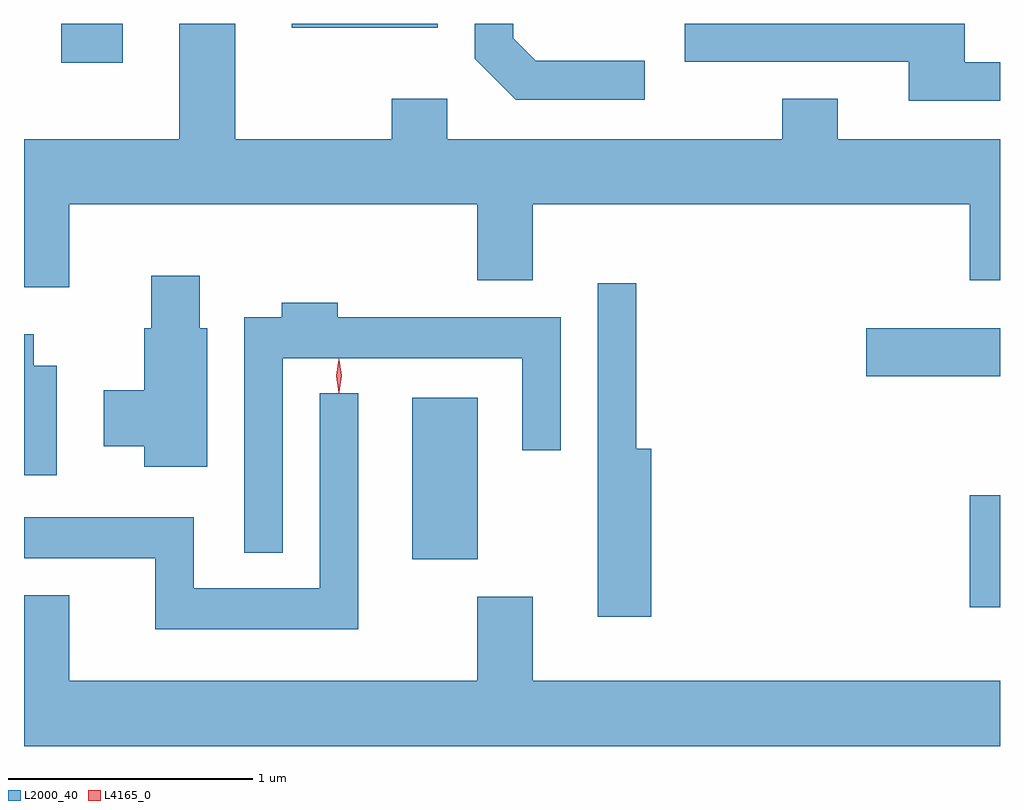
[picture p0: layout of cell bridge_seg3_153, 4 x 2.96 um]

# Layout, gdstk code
import gdstk
lib = gdstk.Library(unit=1e-6, precision=1e-09)
def R(c, l, rs):  # rectangles x0, y0, x1, y1
    for r in rs: c.add(gdstk.rectangle(r[:2], r[2:], *l))
def P(c, l, *ps):  # polygons
    for p in ps: c.add(gdstk.Polygon(p, *l))
L2000_40 = (2000, 40)
L4165_0 = (4165, 0)

bridge_seg3_153 = lib.new_cell('bridge_seg3_153')
R(bridge_seg3_153, L2000_40, [(910.921,1195.406,911.044,1195.864), (908.636,1195.601,908.904,1196.264), (910.496,1196.351,911.044,1196.549), (907.196,1197.636,907.449,1197.796), (908.141,1197.781,908.739,1197.796)])
P(bridge_seg3_153, L2000_40, [(909.588,1197.644),(909.142,1197.644),(909.049,1197.737),(909.049,1197.796),(908.891,1197.796),(908.891,1197.654),(909.059,1197.486),(909.588,1197.486)],
  [(907.229,1197.056),(908.901,1197.056),(908.901,1196.746),(909.129,1196.746),(909.129,1197.056),(910.921,1197.056),(910.921,1196.746),(911.044,1196.746),(911.044,1197.324),(910.379,1197.324),(910.379,1197.489),(910.151,1197.489),(910.151,1197.324),(908.779,1197.324),(908.779,1197.489),(908.551,1197.489),(908.551,1197.324),(907.909,1197.324),(907.909,1197.796),(907.681,1197.796),(907.681,1197.324),(907.044,1197.324),(907.044,1196.716),(907.229,1196.716)],
  [(911.044,1197.639),(910.899,1197.639),(910.899,1197.796),(909.751,1197.796),(909.751,1197.641),(910.671,1197.641),(910.671,1197.481),(911.044,1197.481)],
  [(907.794,1196.549),(907.764,1196.549),(907.764,1196.764),(907.566,1196.764),(907.566,1196.549),(907.536,1196.549),(907.536,1196.294),(907.371,1196.294),(907.371,1196.066),(907.536,1196.066),(907.536,1195.981),(907.794,1195.981)],
  [(909.614,1196.054),(909.554,1196.054),(909.554,1196.733),(909.396,1196.733),(909.396,1195.366),(909.614,1195.366)],
  [(908.104,1196.426),(909.086,1196.426),(909.086,1196.048),(909.244,1196.048),(909.244,1196.594),(908.329,1196.594),(908.329,1196.654),(908.101,1196.654),(908.101,1196.594),(907.946,1196.594),(907.946,1195.628),(908.104,1195.628)],
  [(907.179,1196.394),(907.084,1196.394),(907.084,1196.524),(907.044,1196.524),(907.044,1195.946),(907.179,1195.946)],
  [(908.414,1196.283),(908.256,1196.283),(908.256,1195.484),(907.739,1195.484),(907.739,1195.774),(907.044,1195.774),(907.044,1195.606),(907.581,1195.606),(907.581,1195.316),(908.414,1195.316)],
  [(911.044,1195.104),(909.129,1195.104),(909.129,1195.449),(908.901,1195.449),(908.901,1195.104),(907.229,1195.104),(907.229,1195.454),(907.044,1195.454),(907.044,1194.836),(911.044,1194.836)])
P(bridge_seg3_153, L4165_0, [(908.334,1196.284),(908.334,1196.284),(908.324,1196.353),(908.334,1196.422),(908.334,1196.423),(908.335,1196.422),(908.344,1196.353),(908.335,1196.284)],
  [(908.336,1196.287),(908.335,1196.288),(908.326,1196.354),(908.335,1196.42),(908.336,1196.421),(908.336,1196.42),(908.346,1196.354),(908.336,1196.288)])

lib.write_gds('bridge_seg3_153.gds')
